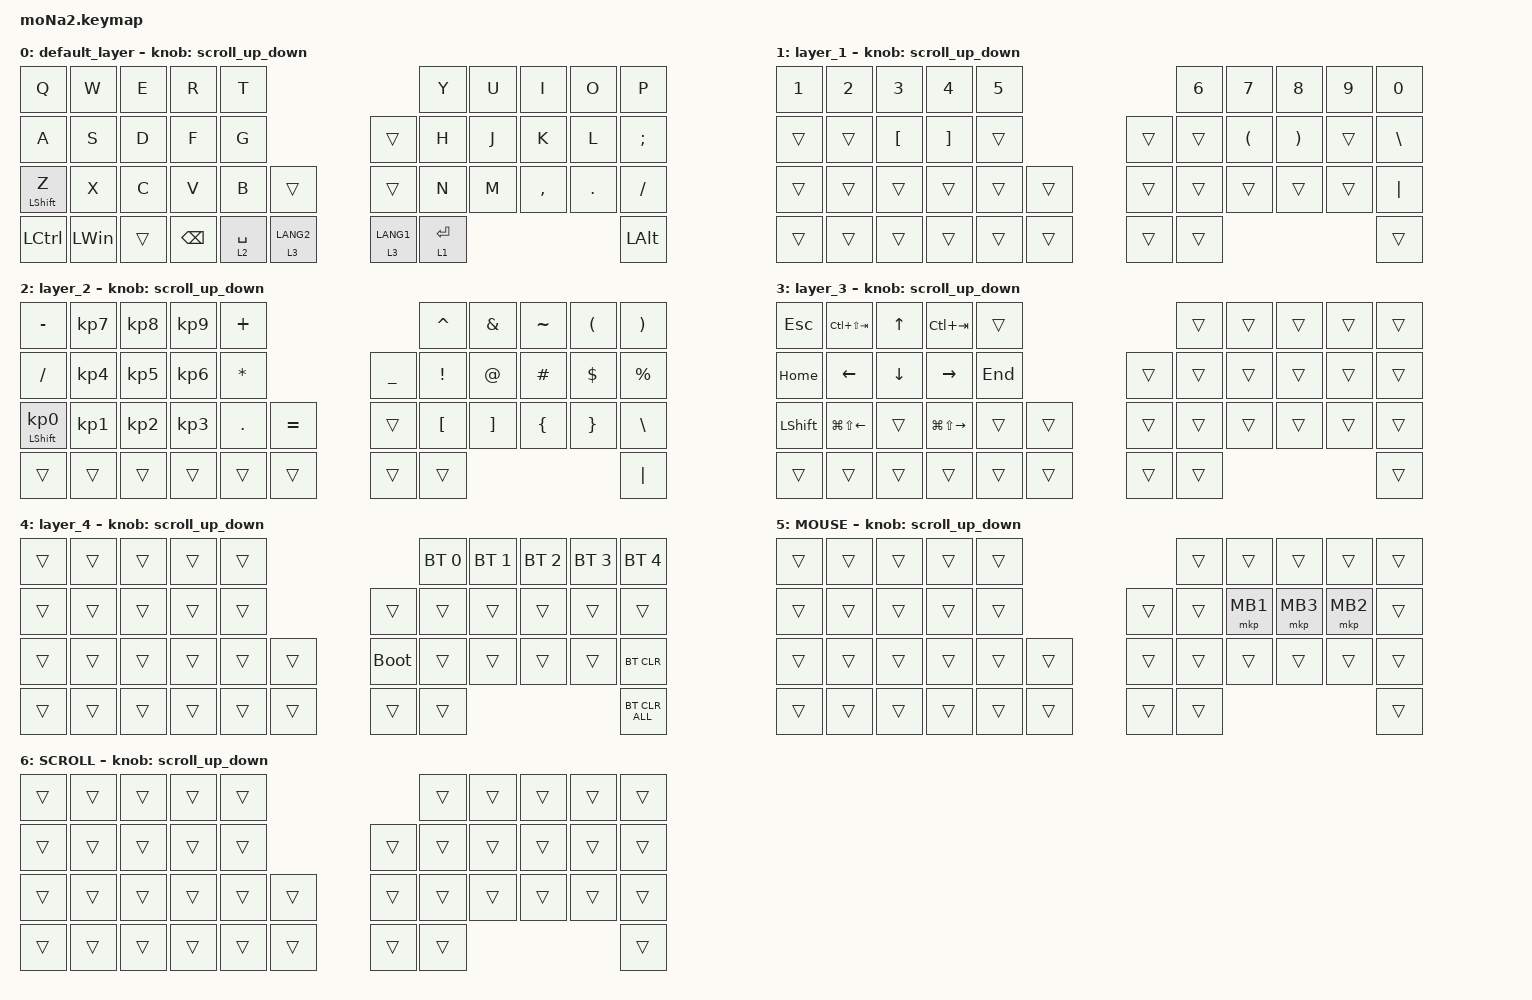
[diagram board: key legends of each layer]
#include <behaviors.dtsi>
#include <dt-bindings/zmk/bt.h>
#include <dt-bindings/zmk/keys.h>
#include <dt-bindings/zmk/pointing.h>

#define ZMK_POINTING_DEFAULT_SCRL_VAL 100
#define MOUSE 5
#define SCROLL 6

&mt {
    flavor = "balanced";
    quick-tap-ms = <0>;
};

/ {
    combos { compatible = "zmk,combos"; };

    macros {
        to_layer_0: to_layer_0 {
            compatible = "zmk,behavior-macro-one-param";
            #binding-cells = <1>;
            bindings = <&to 0 &macro_param_1to1 &kp MACRO_PLACEHOLDER>;
            label = "TO_LAYER_0";
        };
    };

    behaviors {
        lt_to_layer_0: lt_to_layer_0 {
            compatible = "zmk,behavior-hold-tap";
            label = "LAYER_TAP_TO_0";
            bindings = <&mo>, <&to_layer_0>;

            #binding-cells = <2>;
            tapping-term-ms = <200>;
        };

        scroll_up_down: behavior_sensor_rotate_mouse_wheel_up_down {
            compatible = "zmk,behavior-sensor-rotate";
            #sensor-binding-cells = <0>;
            bindings = <&msc SCRL_UP>, <&msc SCRL_DOWN>;

            tap-ms = <20>;
        };
    };

    keymap {
        compatible = "zmk,keymap";

        default_layer {
            bindings = <
&kp Q             &kp W         &kp E   &kp R     &kp T                                                          &kp Y        &kp U  &kp I      &kp O    &kp P
&kp A             &kp S         &kp D   &kp F     &kp G                                  &trans                  &kp H        &kp J  &kp K      &kp L    &kp SEMI
&mt LEFT_SHIFT Z  &kp X         &kp C   &kp V     &kp B        &trans                    &trans                  &kp N        &kp M  &kp COMMA  &kp DOT  &kp SLASH
&kp LCTRL         &kp LEFT_WIN  &trans  &kp BSPC  &lt 2 SPACE  &lt_to_layer_0 3 LANG2    &lt_to_layer_0 3 LANG1  &lt 1 ENTER                             &kp LALT
            >;

            sensor-bindings = <&scroll_up_down>;
        };

        layer_1 {
            bindings = <
&kp NUMBER_1  &kp NUMBER_2  &kp NUMBER_3      &kp NUMBER_4       &kp N5                    &kp NUMBER_6  &kp NUMBER_7          &kp NUMBER_8           &kp NUMBER_9  &kp NUMBER_0
&trans        &trans        &kp LEFT_BRACKET  &kp RIGHT_BRACKET  &trans            &trans  &trans        &kp LEFT_PARENTHESIS  &kp RIGHT_PARENTHESIS  &trans        &kp BACKSLASH
&trans        &trans        &trans            &trans             &trans  &trans    &trans  &trans        &trans                &trans                 &trans        &kp PIPE
&trans        &trans        &trans            &trans             &trans  &trans    &trans  &trans                                                                   &trans
            >;

            sensor-bindings = <&scroll_up_down>;
        };

        layer_2 {
            bindings = <
&kp MINUS                   &kp KP_NUMBER_7  &kp KP_NUMBER_8  &kp KP_NUMBER_9  &kp PLUS                                   &kp CARET         &kp AMPERSAND      &kp TILDE       &kp LEFT_PARENTHESIS  &kp RIGHT_PARENTHESIS
&kp SLASH                   &kp KP_NUMBER_4  &kp KP_NUMBER_5  &kp KP_NUMBER_6  &kp ASTERISK               &kp UNDERSCORE  &kp EXCLAMATION   &kp AT_SIGN        &kp HASH        &kp DOLLAR            &kp PERCENT
&mt LEFT_SHIFT KP_NUMBER_0  &kp KP_NUMBER_1  &kp KP_NUMBER_2  &kp KP_NUMBER_3  &kp PERIOD    &kp EQUAL    &trans          &kp LEFT_BRACKET  &kp RIGHT_BRACKET  &kp LEFT_BRACE  &kp RIGHT_BRACE       &kp BACKSLASH
&trans                      &trans           &trans           &trans           &trans        &trans       &trans          &trans                                                                     &kp PIPE
            >;

            sensor-bindings = <&scroll_up_down>;
        };

        layer_3 {
            bindings = <
&kp ESCAPE      &kp LC(LS(TAB))         &kp UP_ARROW    &kp LC(TAB)              &trans                     &trans  &trans  &trans  &trans  &trans
&kp HOME        &kp LEFT_ARROW          &kp DOWN_ARROW  &kp RIGHT_ARROW          &kp END            &trans  &trans  &trans  &trans  &trans  &trans
&kp LEFT_SHIFT  &kp LG(LS(LEFT_ARROW))  &trans          &kp LG(LS(RIGHT_ARROW))  &trans   &trans    &trans  &trans  &trans  &trans  &trans  &trans
&trans          &trans                  &trans          &trans                   &trans   &trans    &trans  &trans                          &trans
            >;

            sensor-bindings = <&scroll_up_down>;
        };

        layer_4 {
            bindings = <
&trans  &trans  &trans  &trans  &trans                         &bt BT_SEL 0  &bt BT_SEL 1  &bt BT_SEL 2  &bt BT_SEL 3  &bt BT_SEL 4
&trans  &trans  &trans  &trans  &trans            &trans       &trans        &trans        &trans        &trans        &trans
&trans  &trans  &trans  &trans  &trans  &trans    &bootloader  &trans        &trans        &trans        &trans        &bt BT_CLR
&trans  &trans  &trans  &trans  &trans  &trans    &trans       &trans                                                  &bt BT_CLR_ALL
            >;

            sensor-bindings = <&scroll_up_down>;
        };

        MOUSE {
            bindings = <
&trans  &trans  &trans  &trans  &trans                    &trans  &trans    &trans    &trans    &trans
&trans  &trans  &trans  &trans  &trans            &trans  &trans  &mkp MB1  &mkp MB3  &mkp MB2  &trans
&trans  &trans  &trans  &trans  &trans  &trans    &trans  &trans  &trans    &trans    &trans    &trans
&trans  &trans  &trans  &trans  &trans  &trans    &trans  &trans                                &trans
            >;

            sensor-bindings = <&scroll_up_down>;
        };

        SCROLL {
            bindings = <
&trans  &trans  &trans  &trans  &trans                    &trans  &trans  &trans  &trans  &trans
&trans  &trans  &trans  &trans  &trans            &trans  &trans  &trans  &trans  &trans  &trans
&trans  &trans  &trans  &trans  &trans  &trans    &trans  &trans  &trans  &trans  &trans  &trans
&trans  &trans  &trans  &trans  &trans  &trans    &trans  &trans                          &trans
            >;

            sensor-bindings = <&scroll_up_down>;
        };
    };
};
